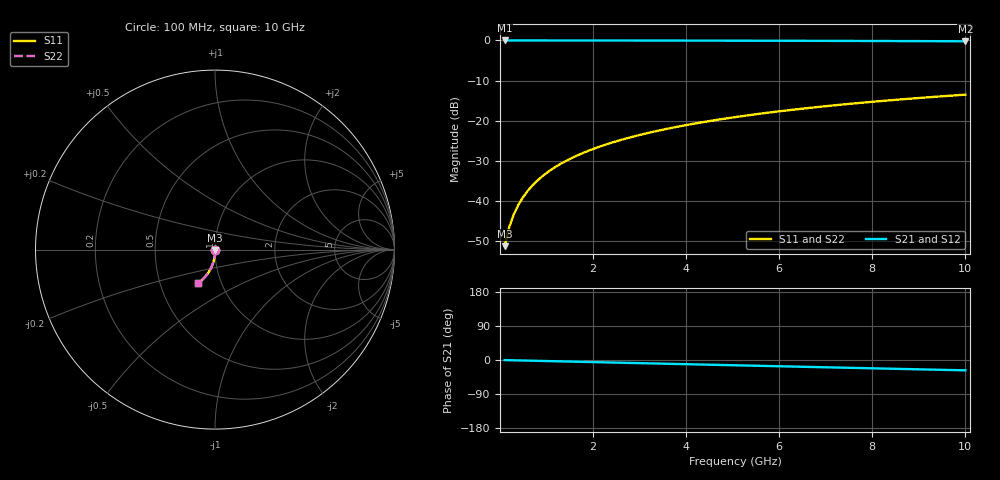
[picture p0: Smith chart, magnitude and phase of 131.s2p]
# Hz S RI R 50.00
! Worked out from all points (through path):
!   100 points, 100 MHz to 10 GHz, reference 50 ohm
!   highest |S21| = -0.01 dB at 100 MHz (marker M1); lowest = -0.2 dB at 10 GHz (marker M2)
!   group delay of S21, straight-line fit = 7.59 ps
!   lowest |S11| = -51.3 dB at 100 MHz (marker M3), VSWR 1.01, Z = 50.2 - j0.223 ohm
!   |S11| at or under -10 dB: start of sweep to end of sweep
!   |S22| runs from -51.3 to -13.5 dB; largest |S21 - S12| = 0
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1e8  0.00157 -0.00222  0.9984 -0.00482  0.9984 -0.00482  0.00157 -0.00222
2e8  0.00154 -0.00445  0.9983 -0.00963  0.9983 -0.00963  0.00154 -0.00445
3e8  0.00149 -0.00667  0.9983 -0.0144  0.9983 -0.0144  0.00149 -0.00667
4e8  0.00142 -0.00889  0.9982 -0.0193  0.9982 -0.0193  0.00142 -0.00889
5e8  0.00133 -0.0111  0.998 -0.0241  0.998 -0.0241  0.00133 -0.0111
6e8  0.00121 -0.0133  0.9979 -0.0289  0.9979 -0.0289  0.00121 -0.0133
7e8  0.00107 -0.0155  0.9977 -0.0337  0.9977 -0.0337  0.00107 -0.0155
8e8  0.000913 -0.0178  0.9974 -0.0385  0.9974 -0.0385  0.000913 -0.0178
9e8  0.000732 -0.02  0.9972 -0.0433  0.9972 -0.0433  0.000732 -0.02
1.1e9  0.000305 -0.0244  0.9966 -0.0529  0.9966 -0.0529  0.000305 -0.0244
1.4e9  -0.000496 -0.031  0.9956 -0.0673  0.9956 -0.0673  -0.000496 -0.031
1.8e9  -0.00186 -0.0398  0.9937 -0.0865  0.9937 -0.0865  -0.00186 -0.0398
2.1e9  -0.00311 -0.0463  0.9921 -0.1008  0.9921 -0.1008  -0.00311 -0.0463
2.5e9  -0.00506 -0.055  0.9895 -0.1198  0.9895 -0.1198  -0.00506 -0.055
2.9e9  -0.00734 -0.0636  0.9864 -0.1387  0.9864 -0.1387  -0.00734 -0.0636
3.4e9  -0.0106 -0.0741  0.9821 -0.1623  0.9821 -0.1623  -0.0106 -0.0741
4.2e9  -0.017 -0.0906  0.9736 -0.1995  0.9736 -0.1995  -0.017 -0.0906
5.1e9  -0.0255 -0.1085  0.9622 -0.2407  0.9622 -0.2407  -0.0255 -0.1085
5.9e9  -0.0344 -0.1237  0.9503 -0.2767  0.9503 -0.2767  -0.0344 -0.1237
6.7e9  -0.0443 -0.1381  0.9369 -0.3118  0.9369 -0.3118  -0.0443 -0.1381
8.4e9  -0.0687 -0.1658  0.9035 -0.3835  0.9035 -0.3835  -0.0687 -0.1658
1e10  -0.0952 -0.1878  0.8668 -0.447  0.8668 -0.447  -0.0952 -0.1878
